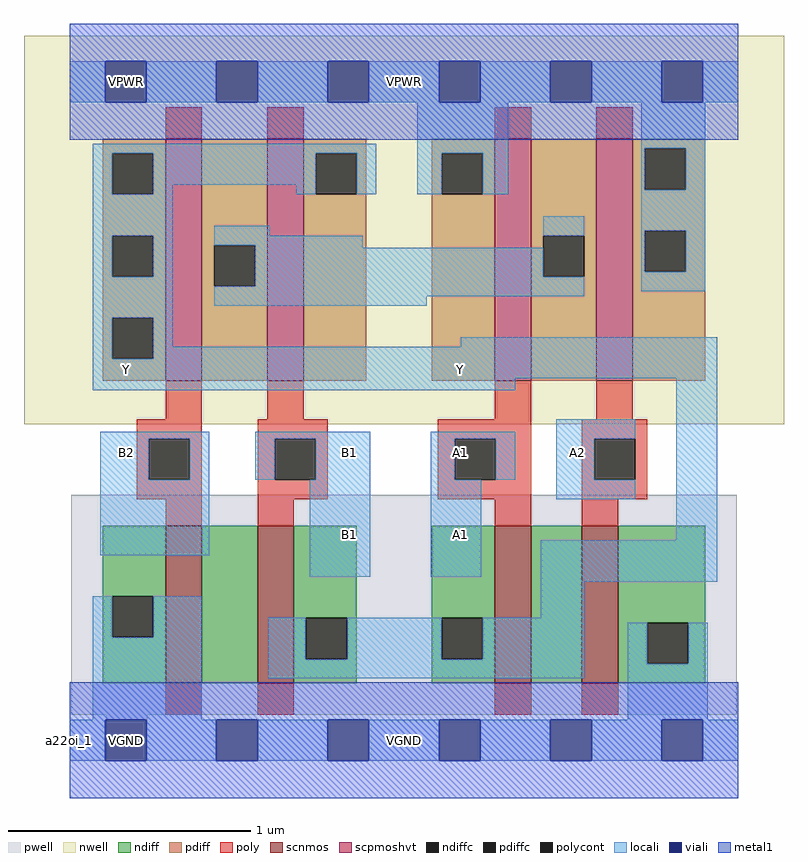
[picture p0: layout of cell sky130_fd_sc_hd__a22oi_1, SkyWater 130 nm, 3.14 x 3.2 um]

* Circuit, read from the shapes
.subckt sky130_fd_sc_hd__a22oi_1 A1 A2 B1 B2 VGND VNB VPB VPWR Y
XM1 n1 B2 VGND VNB sky130_fd_pr__nfet_01v8 w=0.65 l=0.15
XM2 Y B1 n1 VNB sky130_fd_pr__nfet_01v8 w=0.65 l=0.15
XM3 n2 A1 Y VNB sky130_fd_pr__nfet_01v8 w=0.65 l=0.15
XM4 VGND A2 n2 VNB sky130_fd_pr__nfet_01v8 w=0.65 l=0.15
XM5 n3 B2 Y VPB sky130_fd_pr__pfet_01v8_hvt w=1 l=0.15
XM6 Y B1 n3 VPB sky130_fd_pr__pfet_01v8_hvt w=1 l=0.15
XM7 n3 A1 VPWR VPB sky130_fd_pr__pfet_01v8_hvt w=1 l=0.15
XM8 VPWR A2 n3 VPB sky130_fd_pr__pfet_01v8_hvt w=1 l=0.15
.ends

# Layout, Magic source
magic
tech sky130B
magscale 1 2
<< nwell >>
rect -38 261 590 582
<< pwell >>
rect 1 21 551 203
rect 30 -17 64 21
<< scnmos >>
rect 79 47 109 177
rect 155 47 185 177
rect 351 47 381 177
rect 423 47 453 177
<< scpmoshvt >>
rect 79 297 109 497
rect 163 297 193 497
rect 351 297 381 497
rect 435 297 465 497
<< ndiff >>
rect 27 119 79 177
rect 27 85 35 119
rect 69 85 79 119
rect 27 47 79 85
rect 109 47 155 177
rect 185 101 237 177
rect 185 67 195 101
rect 229 67 237 101
rect 185 47 237 67
rect 299 101 351 177
rect 299 67 307 101
rect 341 67 351 101
rect 299 47 351 67
rect 381 47 423 177
rect 453 97 525 177
rect 453 63 477 97
rect 511 63 525 97
rect 453 47 525 63
<< pdiff >>
rect 27 485 79 497
rect 27 451 35 485
rect 69 451 79 485
rect 27 417 79 451
rect 27 383 35 417
rect 69 383 79 417
rect 27 349 79 383
rect 27 315 35 349
rect 69 315 79 349
rect 27 297 79 315
rect 109 409 163 497
rect 109 375 119 409
rect 153 375 163 409
rect 109 297 163 375
rect 193 485 245 497
rect 193 451 203 485
rect 237 451 245 485
rect 193 297 245 451
rect 299 485 351 497
rect 299 451 307 485
rect 341 451 351 485
rect 299 297 351 451
rect 381 417 435 497
rect 381 383 391 417
rect 425 383 435 417
rect 381 297 435 383
rect 465 489 525 497
rect 465 455 475 489
rect 509 455 525 489
rect 465 421 525 455
rect 465 387 475 421
rect 509 387 525 421
rect 465 297 525 387
<< ndiffc >>
rect 35 85 69 119
rect 195 67 229 101
rect 307 67 341 101
rect 477 63 511 97
<< pdiffc >>
rect 35 451 69 485
rect 35 383 69 417
rect 35 315 69 349
rect 119 375 153 409
rect 203 451 237 485
rect 307 451 341 485
rect 391 383 425 417
rect 475 455 509 489
rect 475 387 509 421
<< poly >>
rect 79 497 109 523
rect 163 497 193 523
rect 351 497 381 523
rect 435 497 465 523
rect 79 265 109 297
rect 163 265 193 297
rect 351 265 381 297
rect 435 265 465 297
rect 55 249 109 265
rect 55 215 65 249
rect 99 215 109 249
rect 55 199 109 215
rect 79 177 109 199
rect 155 249 213 265
rect 155 215 169 249
rect 203 215 213 249
rect 155 199 213 215
rect 304 249 381 265
rect 304 215 318 249
rect 352 215 381 249
rect 304 199 381 215
rect 155 177 185 199
rect 351 177 381 199
rect 423 249 477 265
rect 423 215 433 249
rect 467 215 477 249
rect 423 199 477 215
rect 423 177 453 199
rect 79 21 109 47
rect 155 21 185 47
rect 351 21 381 47
rect 423 21 453 47
<< polycont >>
rect 65 215 99 249
rect 169 215 203 249
rect 318 215 352 249
rect 433 215 467 249
<< locali >>
rect 0 527 29 561
rect 63 527 121 561
rect 155 527 213 561
rect 247 527 305 561
rect 339 527 397 561
rect 431 527 489 561
rect 523 527 552 561
rect 19 485 253 493
rect 19 451 35 485
rect 69 459 203 485
rect 69 451 85 459
rect 187 451 203 459
rect 237 451 253 485
rect 287 485 362 527
rect 287 451 307 485
rect 341 451 362 485
rect 472 489 525 527
rect 472 455 475 489
rect 509 455 525 489
rect 19 417 85 451
rect 19 383 35 417
rect 69 383 85 417
rect 19 349 85 383
rect 119 417 165 425
rect 391 417 425 433
rect 119 409 242 417
rect 153 407 242 409
rect 153 383 391 407
rect 153 375 425 383
rect 119 367 425 375
rect 472 421 525 455
rect 472 387 475 421
rect 509 387 525 421
rect 472 371 525 387
rect 119 359 295 367
rect 19 315 35 349
rect 69 325 85 349
rect 323 325 535 333
rect 69 315 535 325
rect 19 299 535 315
rect 19 289 368 299
rect 25 249 115 255
rect 25 215 65 249
rect 99 215 115 249
rect 153 249 248 255
rect 153 215 169 249
rect 203 215 248 249
rect 25 153 115 215
rect 198 135 248 215
rect 298 249 368 255
rect 298 215 318 249
rect 352 215 368 249
rect 402 249 467 265
rect 402 215 433 249
rect 298 135 340 215
rect 402 199 467 215
rect 501 165 535 299
rect 389 131 535 165
rect 19 85 35 119
rect 69 85 109 119
rect 389 101 425 131
rect 19 17 109 85
rect 164 67 195 101
rect 229 67 307 101
rect 341 67 425 101
rect 164 51 425 67
rect 461 63 477 97
rect 511 63 527 97
rect 461 17 527 63
rect 0 -17 29 17
rect 63 -17 121 17
rect 155 -17 213 17
rect 247 -17 305 17
rect 339 -17 397 17
rect 431 -17 489 17
rect 523 -17 552 17
<< viali >>
rect 29 527 63 561
rect 121 527 155 561
rect 213 527 247 561
rect 305 527 339 561
rect 397 527 431 561
rect 489 527 523 561
rect 29 -17 63 17
rect 121 -17 155 17
rect 213 -17 247 17
rect 305 -17 339 17
rect 397 -17 431 17
rect 489 -17 523 17
<< metal1 >>
rect 0 561 552 592
rect 0 527 29 561
rect 63 527 121 561
rect 155 527 213 561
rect 247 527 305 561
rect 339 527 397 561
rect 431 527 489 561
rect 523 527 552 561
rect 0 496 552 527
rect 0 17 552 48
rect 0 -17 29 17
rect 63 -17 121 17
rect 155 -17 213 17
rect 247 -17 305 17
rect 339 -17 397 17
rect 431 -17 489 17
rect 523 -17 552 17
rect 0 -48 552 -17
<< labels >>
flabel locali s 214 153 248 187 0 FreeSans 200 0 0 0 B1
port 3 nsew signal input
flabel locali s 306 153 340 187 0 FreeSans 200 0 0 0 A1
port 1 nsew signal input
flabel locali s 214 221 248 255 0 FreeSans 200 0 0 0 B1
port 3 nsew signal input
flabel locali s 30 221 64 255 0 FreeSans 200 0 0 0 B2
port 4 nsew signal input
flabel locali s 402 221 436 255 0 FreeSans 200 0 0 0 A2
port 2 nsew signal input
flabel locali s 306 221 340 255 0 FreeSans 200 0 0 0 A1
port 1 nsew signal input
flabel locali s 306 289 340 323 0 FreeSans 200 0 0 0 Y
port 9 nsew signal output
flabel locali s 30 289 64 323 0 FreeSans 200 0 0 0 Y
port 9 nsew signal output
flabel metal1 s 30 527 64 561 0 FreeSans 200 0 0 0 VPWR
port 8 nsew power bidirectional abutment
flabel metal1 s 30 -17 64 17 0 FreeSans 200 0 0 0 VGND
port 5 nsew ground bidirectional abutment
flabel nwell s 30 527 64 561 0 FreeSans 200 0 0 0 VPB
port 7 nsew power bidirectional
flabel pwell s 30 -17 64 17 0 FreeSans 200 0 0 0 VNB
port 6 nsew ground bidirectional
rlabel comment s 0 0 0 0 4 a22oi_1
rlabel metal1 s 0 -48 552 48 1 VGND
port 5 nsew ground bidirectional abutment
rlabel metal1 s 0 496 552 592 1 VPWR
port 8 nsew power bidirectional abutment
<< properties >>
string FIXED_BBOX 0 0 552 544
string GDS_END 4057532
string GDS_FILE $PDKPATH/libs.ref/sky130_fd_sc_hd/gds/sky130_fd_sc_hd.gds
string GDS_START 4051918
string LEFclass CORE
string LEFsite unithd
string LEFsymmetry X Y R90
string path 0.000 0.000 13.800 0.000 
<< end >>
